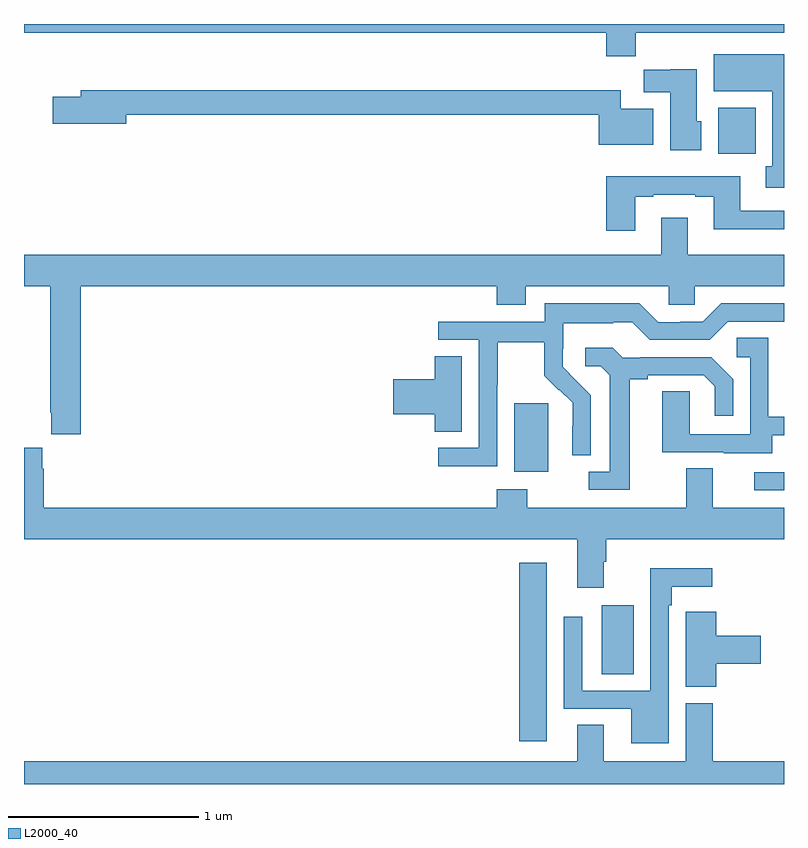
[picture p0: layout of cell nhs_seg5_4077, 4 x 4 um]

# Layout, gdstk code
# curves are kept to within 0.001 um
import gdstk
lib = gdstk.Library(unit=1e-6, precision=1e-09)
def R(c, l, rs):  # rectangles x0, y0, x1, y1
    for r in rs: c.add(gdstk.rectangle(r[:2], r[2:], *l))
def P(c, l, *ps):  # polygons
    for p in ps: c.add(gdstk.Polygon(p, *l))
L2000_40 = (2000, 40)

nhs_seg5_4077 = lib.new_cell('nhs_seg5_4077')
R(nhs_seg5_4077, L2000_40, [(353.606,861.024,353.752,861.964), (354.041,861.376,354.208,861.739), (354.843,862.344,355,862.44), (353.579,862.442,353.758,862.803), (354.653,864.116,354.85,864.358)])
P(nhs_seg5_4077, L2000_40, [(354.221,864.752),(355,864.752),(355,864.799),(351,864.799),(351,864.752),(354.065,864.752),(354.065,864.628),(354.221,864.628)],
  [(355,864.64),(354.629,864.64),(354.629,864.446),(354.938,864.446),(354.938,864.05),(354.905,864.05),(354.905,863.937),(355,863.937)],
  [(354.565,864.288),(354.541,864.288),(354.541,864.562),(354.405,864.562),(354.405,864.558),(354.262,864.558),(354.262,864.44),(354.401,864.44),(354.401,864.134),(354.565,864.134)],
  [(354.313,864.352),(354.141,864.352),(354.141,864.451),(351.299,864.451),(351.299,864.417),(351.15,864.417),(351.15,864.275),(351.538,864.275),(351.538,864.322),(354.025,864.322),(354.025,864.164),(354.313,864.164)],
  [(354.217,863.889),(354.313,863.889),(354.313,863.901),(354.533,863.901),(354.533,863.889),(354.629,863.889),(354.629,863.72),(355,863.72),(355,863.817),(354.769,863.817),(354.769,863.998),(354.065,863.998),(354.065,863.712),(354.217,863.712)],
  [(351.299,863.42),(353.489,863.42),(353.489,863.321),(353.641,863.321),(353.641,863.42),(354.393,863.42),(354.393,863.322),(354.531,863.322),(354.531,863.42),(355,863.42),(355,863.584),(354.493,863.584),(354.493,863.779),(354.353,863.779),(354.353,863.584),(351,863.584),(351,863.42),(351.139,863.42),(351.139,862.753),(351.143,862.753),(351.143,862.641),(351.299,862.641)],
  [(353.49,862.9),(353.493,862.9),(353.493,863.124),(353.737,863.124),(353.737,862.949),(353.814,862.872),(353.817,862.875),(353.888,862.805),(353.888,862.682),(353.886,862.682),(353.886,862.528),(353.982,862.528),(353.982,862.846),(353.836,862.994),(353.836,863.091),(353.838,863.091),(353.838,863.225),(354.101,863.225),(354.101,863.229),(354.201,863.229),(354.294,863.136),(354.609,863.136),(354.705,863.232),(355,863.232),(355,863.328),(354.669,863.328),(354.573,863.232),(354.455,863.232),(354.455,863.229),(354.339,863.229),(354.239,863.329),(353.742,863.329),(353.742,863.232),(353.181,863.232),(353.181,863.136),(353.394,863.136),(353.394,862.569),(353.181,862.569),(353.181,862.471),(353.49,862.471)],
  [(354.937,862.635),(355,862.635),(355,862.731),(354.918,862.731),(354.918,863.147),(354.75,863.147),(354.75,863.046),(354.822,863.046),(354.822,862.641),(354.504,862.641),(354.504,862.865),(354.359,862.865),(354.359,862.545),(354.683,862.545),(354.683,862.541),(354.937,862.541)],
  [(354.187,862.928),(354.283,862.928),(354.283,862.95),(354.578,862.95),(354.635,862.893),(354.635,862.737),(354.732,862.737),(354.732,862.93),(354.616,863.046),(354.244,863.046),(354.244,863.043),(354.15,863.043),(354.098,863.095),(353.955,863.095),(353.955,862.998),(354.036,862.998),(354.083,862.951),(354.083,862.443),(353.973,862.443),(353.973,862.347),(354.187,862.347)],
  [(353.305,863.051),(353.162,863.051),(353.162,862.928),(352.944,862.928),(352.944,862.745),(353.162,862.745),(353.162,862.654),(353.305,862.654)],
  [(353.489,862.351),(353.489,862.252),(351.104,862.252),(351.104,862.457),(351.097,862.457),(351.097,862.57),(351,862.57),(351,862.088),(353.912,862.088),(353.912,861.831),(354.052,861.831),(354.052,861.968),(354.065,861.968),(354.065,862.088),(355,862.088),(355,862.252),(354.625,862.252),(354.625,862.46),(354.485,862.46),(354.485,862.252),(353.649,862.252),(353.649,862.351)],
  [(354.393,861.74),(354.409,861.74),(354.409,861.836),(354.622,861.836),(354.622,861.934),(354.297,861.934),(354.297,861.291),(353.937,861.291),(353.937,861.679),(353.841,861.679),(353.841,861.195),(354.197,861.195),(354.197,861.014),(354.393,861.014)],
  [(354.644,861.431),(354.877,861.431),(354.877,861.578),(354.644,861.578),(354.644,861.706),(354.483,861.706),(354.483,861.593),(354.482,861.593),(354.482,861.31),(354.644,861.31)],
  [(355,860.92),(354.626,860.92),(354.626,861.225),(354.482,861.225),(354.482,860.92),(354.052,860.92),(354.052,861.11),(353.912,861.11),(353.912,860.92),(351,860.92),(351,860.799),(355,860.799)])

lib.write_gds('nhs_seg5_4077.gds')
